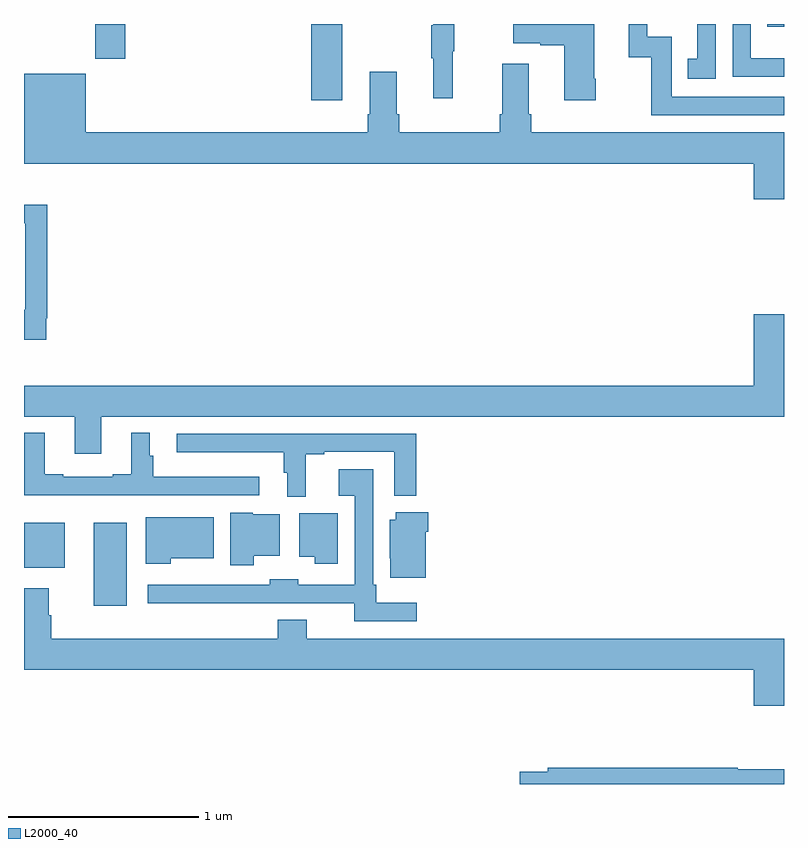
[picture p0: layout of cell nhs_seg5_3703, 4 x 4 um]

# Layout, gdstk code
import gdstk
lib = gdstk.Library(unit=1e-6, precision=1e-09)
def R(c, l, rs):  # rectangles x0, y0, x1, y1
    for r in rs: c.add(gdstk.rectangle(r[:2], r[2:], *l))
def P(c, l, *ps):  # polygons
    for p in ps: c.add(gdstk.Polygon(p, *l))
L2000_40 = (2000, 40)

nhs_seg5_3703 = lib.new_cell('nhs_seg5_3703')
R(nhs_seg5_3703, L2000_40, [(329.366,883.736,329.542,884.173), (329,883.937,329.215,884.173), (330.512,886.398,330.676,886.799), (329.374,886.617,329.534,886.799), (332.911,886.785,333,886.799)])
P(nhs_seg5_3703, L2000_40, [(333,886.416),(332.409,886.416),(332.409,886.731),(332.28,886.731),(332.28,886.799),(332.183,886.799),(332.183,886.623),(332.301,886.623),(332.301,886.32),(333,886.32)],
  [(332.64,886.799),(332.543,886.799),(332.543,886.617),(332.494,886.617),(332.494,886.512),(332.64,886.512)],
  [(331.256,886.656),(331.264,886.656),(331.264,886.799),(331.154,886.799),(331.154,886.793),(331.143,886.793),(331.143,886.619),(331.154,886.619),(331.154,886.407),(331.256,886.407)],
  [(332.01,886.51),(332.002,886.51),(332.002,886.799),(331.575,886.799),(331.575,886.697),(331.718,886.697),(331.718,886.687),(331.844,886.687),(331.844,886.398),(332.01,886.398)],
  [(333,886.618),(332.826,886.618),(332.826,886.799),(332.73,886.799),(332.73,886.521),(333,886.521)],
  [(331.517,886.591),(331.517,886.324),(331.505,886.324),(331.505,886.228),(330.974,886.228),(330.974,886.324),(330.961,886.324),(330.961,886.549),(330.821,886.549),(330.821,886.324),(330.809,886.324),(330.809,886.228),(329.326,886.228),(329.326,886.537),(329,886.537),(329,886.064),(332.84,886.064),(332.84,885.876),(333,885.876),(333,886.228),(331.67,886.228),(331.67,886.324),(331.657,886.324),(331.657,886.591)],
  [(329.116,885.25),(329.123,885.25),(329.123,885.848),(329,885.848),(329,885.75),(329.007,885.75),(329.007,885.294),(329,885.294),(329,885.138),(329.116,885.138)],
  [(329.407,884.732),(333,884.732),(333,885.271),(332.84,885.271),(332.84,884.896),(329,884.896),(329,884.732),(329.267,884.732),(329.267,884.538),(329.407,884.538)],
  [(329.538,884.319),(330.238,884.319),(330.238,884.416),(329.681,884.416),(329.681,884.526),(329.662,884.526),(329.662,884.647),(329.564,884.647),(329.564,884.428),(329.468,884.428),(329.468,884.415),(329.206,884.415),(329.206,884.428),(329.11,884.428),(329.11,884.647),(329,884.647),(329,884.318),(329.538,884.318)],
  [(330.484,884.535),(330.58,884.535),(330.58,884.547),(330.948,884.547),(330.948,884.315),(331.064,884.315),(331.064,884.643),(329.805,884.643),(329.805,884.546),(330.367,884.546),(330.367,884.436),(330.386,884.436),(330.386,884.31),(330.484,884.31)],
  [(331.066,883.753),(330.854,883.753),(330.854,883.849),(330.837,883.849),(330.837,884.455),(330.657,884.455),(330.657,884.315),(330.741,884.315),(330.741,883.848),(330.444,883.848),(330.444,883.876),(330.294,883.876),(330.294,883.848),(329.99,883.848),(329.99,883.849),(329.652,883.849),(329.652,883.751),(330.739,883.751),(330.739,883.656),(331.066,883.656)],
  [(331.114,884.126),(331.127,884.126),(331.127,884.23),(330.956,884.23),(330.956,884.191),(330.926,884.191),(330.926,883.987),(330.927,883.987),(330.927,883.884),(331.114,883.884)],
  [(330.208,884),(330.346,884),(330.346,884.218),(330.204,884.218),(330.204,884.227),(330.086,884.227),(330.086,883.95),(330.208,883.95)],
  [(330.652,884.224),(330.449,884.224),(330.449,883.994),(330.53,883.994),(330.53,883.958),(330.652,883.958)],
  [(329.772,883.988),(329.998,883.988),(329.998,884.203),(329.642,884.203),(329.642,883.958),(329.772,883.958)],
  [(333,883.564),(330.487,883.564),(330.487,883.663),(330.335,883.663),(330.335,883.564),(329.144,883.564),(329.144,883.688),(329.131,883.688),(329.131,883.828),(329,883.828),(329,883.4),(332.84,883.4),(332.84,883.212),(333,883.212)],
  [(333,882.877),(332.756,882.877),(332.756,882.884),(331.756,882.884),(331.756,882.864),(331.61,882.864),(331.61,882.799),(333,882.799)])

lib.write_gds('nhs_seg5_3703.gds')
